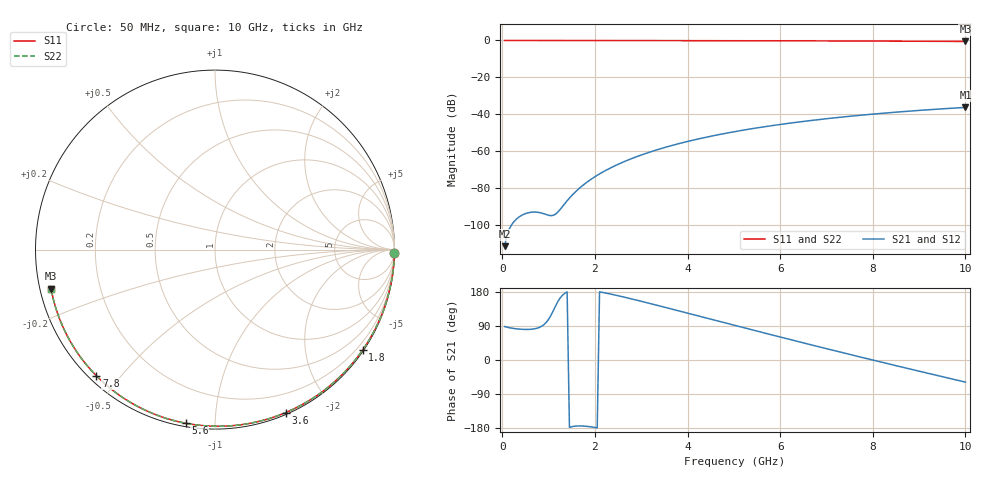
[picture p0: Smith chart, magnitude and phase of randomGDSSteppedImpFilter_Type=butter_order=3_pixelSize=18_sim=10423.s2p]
! freq	dB(S11)	phase(S11)	dB(S12)	phase(S12)
!  dB(S21)	phase(S21)	dB(S22)	phase(S22)
!S-par simulation data
#  GHz  S  DB  R 50
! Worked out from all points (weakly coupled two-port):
!   200 points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, 50 MHz to 10 GHz, reference 50 ohm
!   highest |S21| = -36.38 dB at 10 GHz (marker M1); lowest = -111.7 dB at 50 MHz (marker M2)
!   lowest |S11| = -0.5 dB at 10 GHz (marker M3), VSWR 31.75, Z = 1.6 - j5.86 ohm
!   |S11| at or under -10 dB: nowhere
!   |S22| runs from -0.5 to 0.0 dB; largest |S21 - S12| = 0
!   S11 on the Smith chart (normalised r, x): 50 MHz: open; 1.8 GHz: 0.03, -3.24; 3.6 GHz: 0.02, -1.52; 5.6 GHz: 0.02, -0.84; 7.8 GHz: 0.02, -0.43; 10 GHz: 0.03, -0.12
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0.05  -0.00 -1.0  -111.73 88.3  -111.73 88.3  -0.00 -1.0
0.45  -0.01 -8.7  -94.57 80.8  -94.57 80.8  -0.01 -8.7
0.85  -0.02 -16.4  -93.75 89.0  -93.75 89.0  -0.02 -16.4
1.65  -0.04 -31.5  -80.59 -174.0  -80.59 -174.0  -0.04 -31.5
1.7  -0.04 -32.4  -79.50 -174.1  -79.50 -174.1  -0.04 -32.4
1.75  -0.04 -33.4  -78.47 -174.3  -78.47 -174.3  -0.04 -33.4
1.8  -0.04 -34.3  -77.50 -174.8  -77.50 -174.8  -0.04 -34.3
2.1  -0.05 -39.8  -72.47 179.9  -72.47 179.9  -0.05 -39.8
2.3  -0.06 -43.5  -69.70 175.0  -69.70 175.0  -0.06 -43.5
2.5  -0.06 -47.1  -67.27 169.6  -67.27 169.6  -0.06 -47.1
2.9  -0.07 -54.3  -63.13 158.0  -63.13 158.0  -0.07 -54.3
3.4  -0.08 -63.1  -58.93 142.6  -58.93 142.6  -0.08 -63.2
3.6  -0.09 -66.6  -57.47 136.3  -57.47 136.3  -0.09 -66.6
4.3  -0.11 -78.5  -53.11 114.2  -53.11 114.2  -0.11 -78.5
5.05  -0.14 -90.8  -49.38 90.4  -49.38 90.4  -0.14 -90.8
5.6  -0.16 -99.6  -47.10 73.1  -47.10 73.1  -0.16 -99.6
6.15  -0.19 -108.2  -45.11 56.0  -45.11 56.0  -0.19 -108.2
6.7  -0.23 -116.7  -43.37 39.1  -43.37 39.1  -0.23 -116.7
7.8  -0.31 -133.3  -40.46 5.8  -40.46 5.8  -0.31 -133.3
8.35  -0.36 -141.5  -39.25 -10.5  -39.25 -10.5  -0.36 -141.5
9.2  -0.45 -154.3  -37.64 -35.3  -37.64 -35.3  -0.45 -154.3
10  -0.55 -166.6  -36.38 -58.3  -36.38 -58.3  -0.55 -166.6
